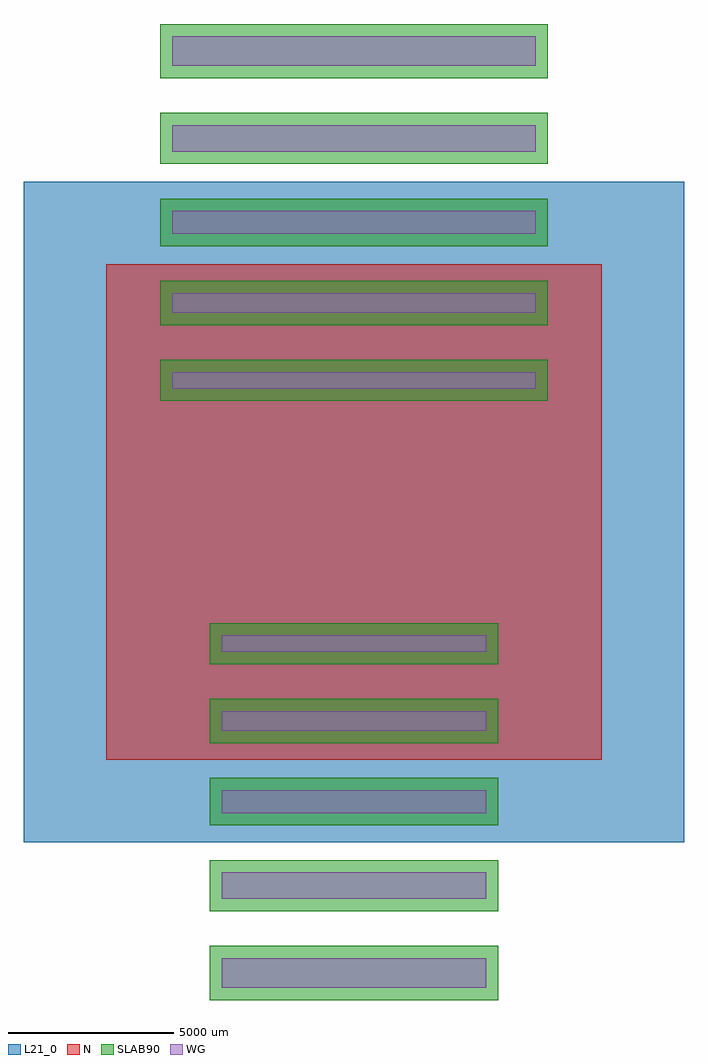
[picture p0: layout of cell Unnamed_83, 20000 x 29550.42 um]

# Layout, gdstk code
import gdstk
lib = gdstk.Library(unit=1e-6, precision=1e-09)
def R(c, l, rs):  # rectangles x0, y0, x1, y1
    for r in rs: c.add(gdstk.rectangle(r[:2], r[2:], *l))
WG = (1, 0)
SLAB90 = (3, 0)
N = (20, 0)
L21_0 = (21, 0)

rectangle_s8000_900_l1__ = lib.new_cell('rectangle_S8000_900_L1__743eedf8')
R(rectangle_s8000_900_l1__, WG, [(0,0,8000,900)])

rectangle_s8742p34_1542_ = lib.new_cell('rectangle_S8742p34_1542_3cb4d86e')
R(rectangle_s8742p34_1542_, SLAB90, [(0,0,8742.34,1542.34)])

rectangle_s8000_800_l1__ = lib.new_cell('rectangle_S8000_800_L1__9d6789f8')
R(rectangle_s8000_800_l1__, WG, [(0,0,8000,800)])

rectangle_s8742p34_1242_ = lib.new_cell('rectangle_S8742p34_1242_e0d1e8f0')
R(rectangle_s8742p34_1242_, SLAB90, [(0,0,8742.34,1242.34)])

rectangle_s8000_500_l1__ = lib.new_cell('rectangle_S8000_500_L1__00e8b23c')
R(rectangle_s8000_500_l1__, WG, [(0,0,8000,500)])

rectangle_s8742p34_1442_ = lib.new_cell('rectangle_S8742p34_1442_b5d4945f')
R(rectangle_s8742p34_1442_, SLAB90, [(0,0,8742.34,1442.34)])

rectangle_s11000_900_l1_ = lib.new_cell('rectangle_S11000_900_L1_9c1d72c7')
R(rectangle_s11000_900_l1_, WG, [(0,0,11000,900)])

rectangle_s8742p34_1642_ = lib.new_cell('rectangle_S8742p34_1642_40e2523d')
R(rectangle_s8742p34_1642_, SLAB90, [(0,0,8742.34,1642.34)])

rectangle_s8000_700_l1__ = lib.new_cell('rectangle_S8000_700_L1__8f333247')
R(rectangle_s8000_700_l1__, WG, [(0,0,8000,700)])

rectangle_s11742p34_154_ = lib.new_cell('rectangle_S11742p34_154_534265d7')
R(rectangle_s11742p34_154_, SLAB90, [(0,0,11742.34,1542.34)])

rectangle_s8000_600_l1__ = lib.new_cell('rectangle_S8000_600_L1__39d5b34f')
R(rectangle_s8000_600_l1__, WG, [(0,0,8000,600)])

rectangle_s11742p34_144_ = lib.new_cell('rectangle_S11742p34_144_7962ba5a')
R(rectangle_s11742p34_144_, SLAB90, [(0,0,11742.34,1442.34)])

rectangle_s11742p34_164_ = lib.new_cell('rectangle_S11742p34_164_6166e50f')
R(rectangle_s11742p34_164_, SLAB90, [(0,0,11742.34,1642.34)])

rectangle_s11000_700_l1_ = lib.new_cell('rectangle_S11000_700_L1_ddf4a92d')
R(rectangle_s11000_700_l1_, WG, [(0,0,11000,700)])

rectangle_s11742p34_134_ = lib.new_cell('rectangle_S11742p34_134_53d7302a')
R(rectangle_s11742p34_134_, SLAB90, [(0,0,11742.34,1342.34)])

rectangle_s11000_600_l1_ = lib.new_cell('rectangle_S11000_600_L1_89c6ff42')
R(rectangle_s11000_600_l1_, WG, [(0,0,11000,600)])

rectangle_s11000_500_l1_ = lib.new_cell('rectangle_S11000_500_L1_e8eac09b')
R(rectangle_s11000_500_l1_, WG, [(0,0,11000,500)])

rectangle_s11742p34_124_ = lib.new_cell('rectangle_S11742p34_124_35634cfc')
R(rectangle_s11742p34_124_, SLAB90, [(0,0,11742.34,1242.34)])

rectangle_s8742p34_1342_ = lib.new_cell('rectangle_S8742p34_1342_f559c29b')
R(rectangle_s8742p34_1342_, SLAB90, [(0,0,8742.34,1342.34)])

rectangle_s11000_800_l1_ = lib.new_cell('rectangle_S11000_800_L1_c1175e7f')
R(rectangle_s11000_800_l1_, WG, [(0,0,11000,800)])

rectangle_s15000_15000__ = lib.new_cell('rectangle_S15000_15000__6a6c2047')
R(rectangle_s15000_15000__, N, [(0,0,15000,15000)])

rectangle_s20000_20000__ = lib.new_cell('rectangle_S20000_20000__aa48e1ac')
R(rectangle_s20000_20000__, L21_0, [(0,0,20000,20000)])

unnamed_83 = lib.new_cell('Unnamed_83')
unnamed_83.add(gdstk.Reference(rectangle_s8000_900_l1__, (-4000,-14404.04)))
unnamed_83.add(gdstk.Reference(rectangle_s8742p34_1542_, (-4371.17,-12082.87)))
unnamed_83.add(gdstk.Reference(rectangle_s8000_800_l1__, (-4000,-11711.7)))
unnamed_83.add(gdstk.Reference(rectangle_s8742p34_1242_, (-4371.17,-4605.85)))
unnamed_83.add(gdstk.Reference(rectangle_s8000_500_l1__, (-4000,-4234.68)))
unnamed_83.add(gdstk.Reference(rectangle_s8742p34_1442_, (-4371.17,-9490.53)))
unnamed_83.add(gdstk.Reference(rectangle_s11000_900_l1_, (-5500,13504.04)))
unnamed_83.add(gdstk.Reference(rectangle_s8742p34_1642_, (-4371.17,-14775.21)))
unnamed_83.add(gdstk.Reference(rectangle_s8000_700_l1__, (-4000,-9119.36)))
unnamed_83.add(gdstk.Reference(rectangle_s11742p34_154_, (-5871.17,10540.53)))
unnamed_83.add(gdstk.Reference(rectangle_s8000_600_l1__, (-4000,-6627.02)))
unnamed_83.add(gdstk.Reference(rectangle_s11742p34_144_, (-5871.17,8048.19)))
unnamed_83.add(gdstk.Reference(rectangle_s11742p34_164_, (-5871.17,13132.87)))
unnamed_83.add(gdstk.Reference(rectangle_s11000_700_l1_, (-5500,8419.36)))
unnamed_83.add(gdstk.Reference(rectangle_s11742p34_134_, (-5871.17,5655.85)))
unnamed_83.add(gdstk.Reference(rectangle_s11000_600_l1_, (-5500,6027.02)))
unnamed_83.add(gdstk.Reference(rectangle_s11000_500_l1_, (-5500,3734.68)))
unnamed_83.add(gdstk.Reference(rectangle_s11742p34_124_, (-5871.17,3363.51)))
unnamed_83.add(gdstk.Reference(rectangle_s8742p34_1342_, (-4371.17,-6998.19)))
unnamed_83.add(gdstk.Reference(rectangle_s11000_800_l1_, (-5500,10911.7)))
unnamed_83.add(gdstk.Reference(rectangle_s15000_15000__, (-7500,-7500)))
unnamed_83.add(gdstk.Reference(rectangle_s20000_20000__, (-10000,-10000)))

lib.write_gds('Unnamed_83.gds')
